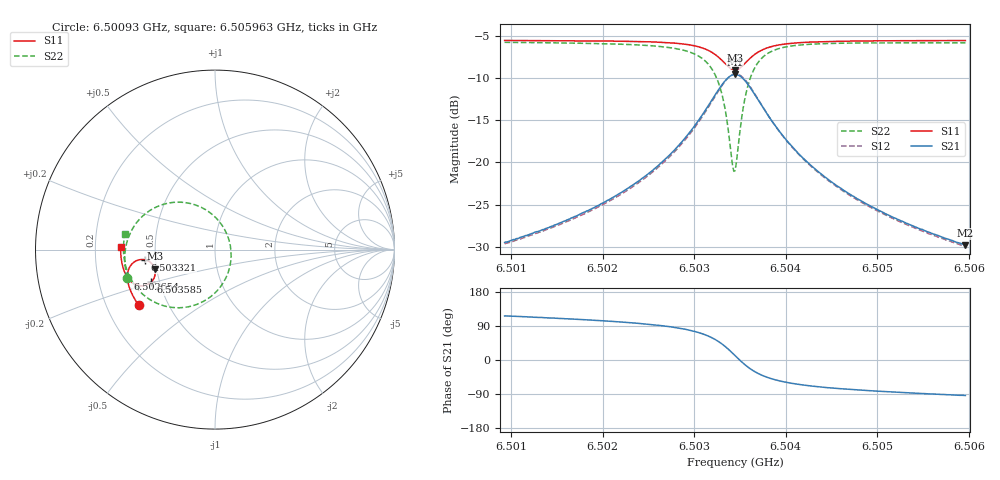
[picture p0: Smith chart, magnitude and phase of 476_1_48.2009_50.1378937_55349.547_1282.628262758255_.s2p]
#  HZ  S  RI  R  50.00
! Rohde & Schwarz Vector Network Analyzer
! Rohde-Schwarz,ZNB20-2Port,1311601062101988,3.16
! Created: UTC 3/20/2024, 11:57:21 AM
! freq[Hz]  re:S11  im:S11  re:S21  im:S21  re:S12  im:S12  re:S22  im:S22
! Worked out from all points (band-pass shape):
!   401 points, 6.50093 GHz to 6.505963 GHz, reference 50 ohm
!   highest |S21| = -9.60 dB at 6.503446 GHz (marker M1); lowest = -29.8 dB at 6.505963 GHz (marker M2)
!   |S21| within 3 dB of the highest: 6.503196 GHz to 6.503699 GHz (503 kHz wide, 0.00773 % of centre)
!   lowest |S11| = -9.1 dB at 6.503446 GHz (marker M3), VSWR 2.09, Z = 24.4 - j5.91 ohm
!   |S11| at or under -10 dB: nowhere
!   |S22| runs from -21.1 to -5.8 dB; largest |S21 - S12| = 0.011
!   S11 on the Smith chart (normalised r, x): 6.50093 GHz: 0.34, -0.29; 6.502654 GHz: 0.33, -0.14; 6.503321 GHz: 0.44, -0.06; 6.503585 GHz: 0.45, -0.19; 6.505963 GHz: 0.31, +0.01
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6.5009299e9  -0.4255 -0.3107  -0.0148 0.0301  -0.0132 0.0301  -0.4889 -0.1571
6.5017729e9  -0.4619 -0.2485  -0.0142 0.0479  -0.0119 0.0473  -0.5024 -0.0679
6.5022259e9  -0.4778 -0.2085  -0.0115 0.0665  -0.0085 0.0654  -0.5 -0.00401
6.5026159e9  -0.4873 -0.1656  -0.00237 0.0965  0.00115 0.0943  -0.4803 0.0733
6.5026537e9  -0.4878 -0.1606  -0.000664 0.1007  0.00306 0.0983  -0.4764 0.0827
6.5029305e9  -0.4837 -0.1177  0.0259 0.1432  0.0297 0.1389  -0.4212 0.1686
6.5031192e9  -0.4624 -0.0795  0.0801 0.1855  0.0826 0.1794  -0.3178 0.2414
6.5032325e9  -0.4298 -0.0588  0.1491 0.2033  0.1501 0.1971  -0.1933 0.2642
6.5033205e9  -0.3893 -0.0569  0.2291 0.1872  0.2294 0.1824  -0.0555 0.2242
6.5033583e9  -0.3698 -0.0646  0.2657 0.1642  0.2666 0.1599  0.00516 0.1773
6.5034212e9  -0.3427 -0.0914  0.3138 0.1  0.3167 0.0954  0.078 0.0536
6.5034464e9  -0.3362 -0.1062  0.3243 0.0676  0.3276 0.0621  0.0889 -0.00674
6.5034715e9  -0.3331 -0.122  0.328 0.0336  0.3318 0.0269  0.0874 -0.0686
6.5035344e9  -0.3402 -0.1596  0.3098 -0.0449  0.3124 -0.0548  0.0317 -0.2054
6.5035848e9  -0.3567 -0.1818  0.276 -0.0909  0.2761 -0.102  -0.045 -0.277
6.503698e9  -0.4015 -0.2014  0.1913 -0.136  0.1862 -0.1457  -0.217 -0.3237
6.5038616e9  -0.4479 -0.1919  0.1089 -0.1329  0.102 -0.138  -0.3653 -0.2769
6.5040378e9  -0.4755 -0.1705  0.0641 -0.1126  0.058 -0.1149  -0.4378 -0.2117
6.5042894e9  -0.4964 -0.1406  0.0339 -0.0882  0.0293 -0.0887  -0.4813 -0.1393
6.5046795e9  -0.5122 -0.1  0.0146 -0.0641  0.0113 -0.0638  -0.5043 -0.0622
6.5051324e9  -0.5213 -0.058  0.00512 -0.0481  0.00278 -0.0475  -0.51 0.00166
6.5059629e9  -0.5262 0.0122  -0.00209 -0.0323  -0.00345 -0.0317  -0.5024 0.0893
